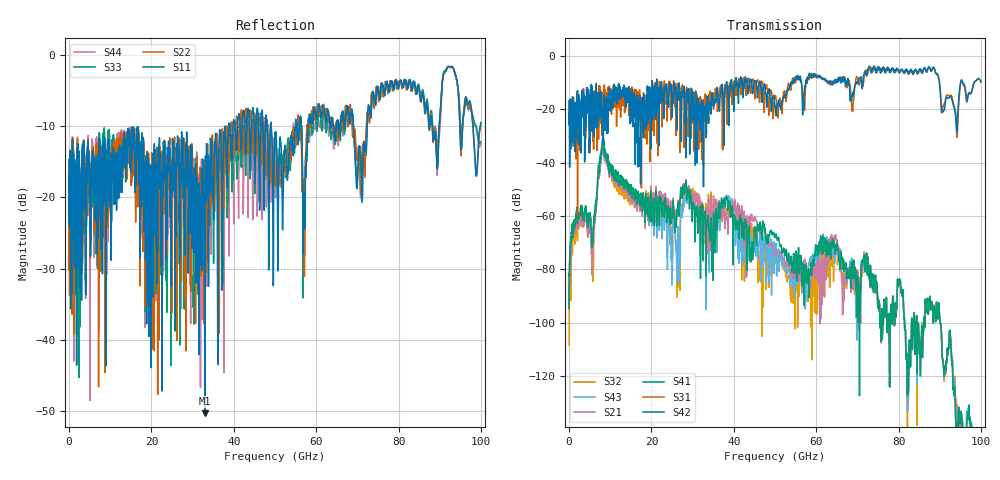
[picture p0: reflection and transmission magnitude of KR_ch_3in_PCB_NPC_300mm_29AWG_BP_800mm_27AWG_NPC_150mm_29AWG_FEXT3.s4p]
# GHz S RI R 45
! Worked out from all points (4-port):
!   4000 points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, 25 MHz to 100 GHz, reference 45 ohm
!   strongest paths, dB at 25 MHz, 25.02 GHz, 50.02 GHz, 75.03 GHz, 100 GHz:
!     S42: -21.2, -20.7, -18.6, -4.1, -9.8
!     S31: -21.3, -14.8, -15.7, -5.1, -9.6
!     S41: -94.6, -59.7, -67.7, -91.8, -144.8
!     S21: -94.8, -56.5, -74.3, -92.0, -149.7
!     S43: -94.5, -85.9, -72.0, -91.6, -151.6
!     S32: -108.3, -69.0, -77.0, -91.8, -151.4
!   lowest |S11| = -50.3 dB at 32.95 GHz (marker M1), VSWR 1.01, Z = 45 - j0.272 ohm
!   |S11| at or under -10 dB: start of sweep to 38.73 GHz; 49.11 GHz to 54.96 GHz (5.852 GHz wide, 11.2 % of centre); 69.03 GHz to 72.39 GHz (3.361 GHz wide, 4.75 % of centre) (the widest 3 of 25)
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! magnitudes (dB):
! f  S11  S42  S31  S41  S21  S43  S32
! 25 MHz  -16.7  -21.2  -21.3  -94.6  -94.8  -94.5  -108.3
! 5.825 GHz  -14.5  -15.4  -17.4  -67.6  -70.3  -66.5  -81.0
! 8.25 GHz  -12.8  -33.0  -14.6  -31.9  -33.6  -30.6  -32.1
! 26.48 GHz  -15.0  -14.9  -12.1  -55.2  -54.9  -64.4  -66.4
! 28.6 GHz  -12.2  -13.1  -12.7  -54.0  -52.6  -55.2  -52.3
! 32.95 GHz  -50.3  -21.3  -24.4  -58.7  -60.8  -63.9  -66.6
! 100 GHz  -9.5  -9.8  -9.6  -144.8  -149.7  -151.6  -151.4
